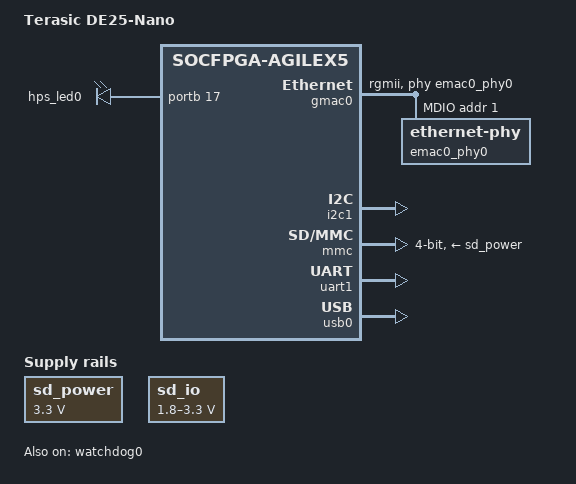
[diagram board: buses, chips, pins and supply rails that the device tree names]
// SPDX-License-Identifier: GPL-2.0-only
/*
 * Copyright (C) 2025, Altera Corporation
 */
#include "socfpga_agilex5.dtsi"

/ {
	model = "Terasic DE25-Nano";
	compatible = "terasic,de25-nano", "intel,socfpga-agilex5";

	aliases {
		serial0 = &uart1;
		ethernet0 = &gmac0;
	};

	chosen {
		stdout-path = "serial0:115200n8";
	};

	leds {
		compatible = "gpio-leds";

		led-0 {
			label = "hps_led0";
			gpios = <&portb 17 GPIO_ACTIVE_HIGH>;
		};
	};

	memory@80000000 {
		device_type = "memory";
		/* We expect the bootloader to fill in the reg */
		reg = <0x0 0x80000000 0x0 0x0>;
	};

	sd_power: regulator-sd-3v3 {
		compatible = "regulator-fixed";
		regulator-name = "card-power";
		regulator-min-microvolt = <3300000>;
		regulator-max-microvolt = <3300000>;
		regulator-always-on;
	};

	sd_io: regulator-sd-io {
		compatible = "regulator-gpio";
		regulator-name = "sd-bus-io-power";
		regulator-min-microvolt = <1800000>;
		regulator-max-microvolt = <3300000>;
		gpios = <&portb 3 GPIO_ACTIVE_HIGH>;
		states = <1800000 0x1>,
			 <3300000 0x0>;
	};
};

&gmac0 {
	status = "okay";
	/* TX/RX delays are on the PCB */
	phy-mode = "rgmii";
	phy-handle = <&emac0_phy0>;
	max-frame-size = <9000>;

	mdio0 {
		#address-cells = <1>;
		#size-cells = <0>;
		compatible = "snps,dwmac-mdio";

		emac0_phy0: ethernet-phy@1 {
			reg = <1>;
		};
	};
};

&gpio1 {
	status = "okay";
};

&i2c1 {
	status = "okay";
};

&mmc {
	status = "okay";
	no-1-8-v;
	disable-wp;
	cap-sd-highspeed;
	bus-width = <4>;
	vmmc-supply = <&sd_power>;
	vqmmc-supply = <&sd_io>;
	max-frequency = <200000000>;
	sdhci-caps = <0x00000000 0x0000c800>;
	sdhci-caps-mask = <0x00002007 0x0000ff00>;
};

&osc1 {
	clock-frequency = <25000000>;
};

&qspi {
	/*
	 * The QSPI flash belongs to the SDM while the board boots from it (AS
	 * mode). With Terasic's U-Boot the HPS has no access: U-Boot "sf probe"
	 * fails and the cadence-qspi probe takes an SError. Terasic's own dts
	 * leaves the controller disabled.
	 */
	status = "disabled";

	flash@0 {
		compatible = "jedec,spi-nor";
		reg = <0>;
		spi-max-frequency = <100000000>;
		m25p,fast-read;
		cdns,read-delay = <2>;
		cdns,tshsl-ns = <50>;
		cdns,tsd2d-ns = <50>;
		cdns,tchsh-ns = <4>;
		cdns,tslch-ns = <4>;

		partitions {
			compatible = "fixed-partitions";
			#address-cells = <1>;
			#size-cells = <1>;

			partition@0 {
				label = "u-boot";
				reg = <0x0 0x01000000>;
			};
		};
	};
};

&smmu {
	status = "okay";
};

&uart1 {
	status = "okay";
};

&usb0 {
	status = "okay";
	disable-over-current;
};

&watchdog0 {
	status = "okay";
};
